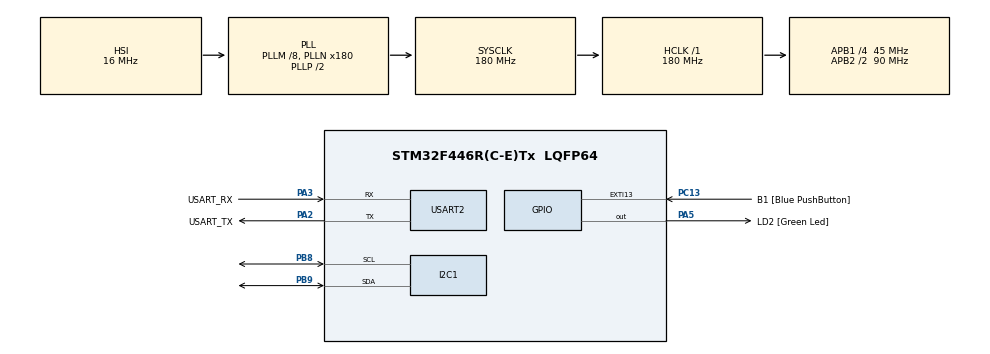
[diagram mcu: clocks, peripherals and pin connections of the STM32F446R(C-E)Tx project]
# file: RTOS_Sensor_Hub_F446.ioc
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FREERTOS.Mutexes01=i2cMutex,Dynamic,NULL,Available
FREERTOS.Queues01=SensorDataQueue,4,16,1,Dynamic,NULL,NULL
FREERTOS.Tasks01=defaultTask,24,128,StartDefaultTask,Default,NULL,Dynamic,NULL,NULL;DataTask,24,256,StartDataTask,Default,NULL,Dynamic,NULL,NULL;CommTask,8,512,StartCommTask,Default,NULL,Dynamic,NULL,NULL
FREERTOS.configCHECK_FOR_STACK_OVERFLOW=2
FREERTOS.configRECORD_STACK_HIGH_ADDRESS=1
FREERTOS.configTOTAL_HEAP_SIZE=20480
FREERTOS.configUSE_MALLOC_FAILED_HOOK=1
FREERTOS.configUSE_NEWLIB_REENTRANT=1
FREERTOS.configUSE_TICKLESS_IDLE=0
I2C1.I2C_Mode=I2C_Fast
IWDG.Prescaler=IWDG_PRESCALER_64
IWDG.Reload=4095
Mcu.Family=STM32F4
Mcu.Name=STM32F446R(C-E)Tx
Mcu.Package=LQFP64
NVIC.PriorityGroup=NVIC_PRIORITYGROUP_4
NVIC.TIM1_UP_TIM10_IRQn=true\:15\:0\:false\:false\:true\:false\:false\:true\:true
NVIC.TimeBase=TIM1_UP_TIM10_IRQn
NVIC.TimeBaseIP=TIM1
PA13.GPIO_Label=TMS
PA13.Signal=SYS_JTMS-SWDIO
PA14.GPIO_Label=TCK
PA14.Signal=SYS_JTCK-SWCLK
PA2.GPIO_Label=USART_TX
PA2.Mode=Asynchronous
PA2.Signal=USART2_TX
PA3.GPIO_Label=USART_RX
PA3.Mode=Asynchronous
PA3.Signal=USART2_RX
PA5.GPIO_Label=LD2 [Green Led]
PA5.Signal=GPIO_Output
PB3.GPIO_Label=SWO
PB3.Signal=SYS_JTDO-SWO
PB8.GPIO_Pu=GPIO_PULLUP
PB8.Mode=I2C
PB8.Signal=I2C1_SCL
PB9.GPIO_Pu=GPIO_PULLUP
PB9.Mode=I2C
PB9.Signal=I2C1_SDA
PC13.GPIO_Label=B1 [Blue PushButton]
PC13.GPIO_ModeDefaultEXTI=GPIO_MODE_IT_FALLING
PC13.Signal=GPXTI13
PC14-OSC32_IN.Mode=LSE-External-Oscillator
PC14-OSC32_IN.Signal=RCC_OSC32_IN
PC15-OSC32_OUT.Mode=LSE-External-Oscillator
PC15-OSC32_OUT.Signal=RCC_OSC32_OUT
PH0-OSC_IN.Mode=HSE-External-Oscillator
PH0-OSC_IN.Signal=RCC_OSC_IN
PH1-OSC_OUT.Mode=HSE-External-Oscillator
PH1-OSC_OUT.Signal=RCC_OSC_OUT
ProjectManager.HeapSize=0x200
ProjectManager.StackSize=0x400
ProjectManager.TargetToolchain=STM32CubeIDE
RCC.AHBFreq_Value=180000000
RCC.APB1CLKDivider=RCC_HCLK_DIV4
RCC.APB1Freq_Value=45000000
RCC.APB1TimFreq_Value=90000000
RCC.APB2CLKDivider=RCC_HCLK_DIV2
RCC.APB2Freq_Value=90000000
RCC.APB2TimFreq_Value=180000000
RCC.CortexFreq_Value=180000000
RCC.FLatency-AdvancedSettings=FLASH_LATENCY_5
RCC.HCLKFreq_Value=180000000
RCC.HSE_VALUE=8000000
RCC.HSI_VALUE=16000000
RCC.PLLM=8
RCC.PLLN=180
RCC.SYSCLKFreq_VALUE=180000000
RCC.SYSCLKSource=RCC_SYSCLKSOURCE_PLLCLK
RCC.USBFreq_Value=180000000
RCC.VCOOutputFreq_Value=360000000
USART2.VirtualMode=VM_ASYNC
VP_FREERTOS_VS_CMSIS_V2.Mode=CMSIS_V2
VP_IWDG_VS_IWDG.Mode=IWDG_Activate
VP_SYS_VS_tim1.Mode=TIM1
board=NUCLEO-F446RE

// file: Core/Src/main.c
/* USER CODE BEGIN Header */
/**
  ******************************************************************************
  * @file           : main.c
  * @brief          : Main program body
  ******************************************************************************
  * @attention
  *
  * Copyright (c) 2026 STMicroelectronics.
  * All rights reserved.
  *
  * This software is licensed under terms that can be found in the LICENSE file
  * in the root directory of this software component.
  * If no LICENSE file comes with this software, it is provided AS-IS.
  *
  ******************************************************************************
  */
/* USER CODE END Header */
#include "main.h"
#include "cmsis_os.h"

/* USER CODE BEGIN Includes */
#include "bme280_defs.h"
#include "bme280.h"
#include "bme280_helper.h"
#include "rtc_helper.h"
#include "ssd1306_conf.h"
#include "ssd1306_fonts.h"
#include "ssd1306.h"
#include <stdio.h>
#include <string.h>
/* USER CODE END Includes */

/* USER CODE BEGIN PTD */
typedef struct {
    float temperature;
    float humidity;
    float pressure;
    uint8_t hours;
    uint8_t minutes;
    uint8_t seconds;
    uint8_t years;
    uint8_t months;
    uint8_t days;
} SensorPacket_t;
/* USER CODE END PTD */

/* USER CODE BEGIN PD */
volatile uint32_t dataTaskAlive = 0;
volatile uint32_t commTaskAlive = 0;

struct bme280_dev dev;
/* USER CODE END PD */

I2C_HandleTypeDef hi2c1;

IWDG_HandleTypeDef hiwdg;

UART_HandleTypeDef huart2;

/* Definitions for defaultTask */
osThreadId_t defaultTaskHandle;
const osThreadAttr_t defaultTask_attributes = {
  .name = "defaultTask",
  .stack_size = 128 * 4,
  .priority = (osPriority_t) osPriorityNormal,
};
/* Definitions for DataTask */
osThreadId_t DataTaskHandle;
const osThreadAttr_t DataTask_attributes = {
  .name = "DataTask",
  .stack_size = 256 * 4,
  .priority = (osPriority_t) osPriorityNormal,
};
/* Definitions for CommTask */
osThreadId_t CommTaskHandle;
const osThreadAttr_t CommTask_attributes = {
  .name = "CommTask",
  .stack_size = 512 * 4,
  .priority = (osPriority_t) osPriorityLow,
};
/* Definitions for SensorDataQueue */
osMessageQueueId_t SensorDataQueueHandle;
const osMessageQueueAttr_t SensorDataQueue_attributes = {
  .name = "SensorDataQueue"
};
/* Definitions for i2cMutex */
osMutexId_t i2cMutexHandle;
const osMutexAttr_t i2cMutex_attributes = {
  .name = "i2cMutex"
};

void SystemClock_Config(void);
static void MX_GPIO_Init(void);
static void MX_I2C1_Init(void);
static void MX_USART2_UART_Init(void);
static void MX_IWDG_Init(void);
void StartDefaultTask(void *argument);
void StartDataTask(void *argument);
void StartCommTask(void *argument);

/* USER CODE BEGIN PFP */
int8_t Bme280_Setup(void);
void I2C1_BusRecover(void);
/* USER CODE END PFP */

int main(void)
{

  /* MCU Configuration--------------------------------------------------------*/

  /* Reset of all peripherals, Initializes the Flash interface and the Systick. */
  HAL_Init();

  /* Configure the system clock */
  SystemClock_Config();

  /* Initialize all configured peripherals */
  MX_GPIO_Init();
  MX_I2C1_Init();
  MX_USART2_UART_Init();
  /* USER CODE BEGIN 2 */
  int8_t rslt = Bme280_Setup();
  char m[32];
  int k = snprintf(m, sizeof(m), "bme280_setup: %d\r\n", rslt);
  HAL_UART_Transmit(&huart2, (uint8_t*)m, k, 100);

  if (__HAL_RCC_GET_FLAG(RCC_FLAG_IWDGRST)) {
      HAL_UART_Transmit(&huart2, (uint8_t*)"IWDG reset\r\n", 12, 100);
  } else {
      HAL_UART_Transmit(&huart2, (uint8_t*)"Normal boot\r\n", 13, 100);
  }
  __HAL_RCC_CLEAR_RESET_FLAGS();

  I2C1_BusRecover();

  dev.intf_ptr = NULL;
  dev.read = bme280_i2c_read;
  dev.write = bme280_i2c_write;
  dev.delay_us = bme280_delay_us;
  dev.intf = BME280_I2C_INTF;

  if (bme280_init(&dev) != BME280_OK)
  {
      const char hello[] = "Hiba tortent\r\n";
      HAL_UART_Transmit(&huart2, (uint8_t*)hello, sizeof(hello) - 1, 100);
  }

    struct bme280_settings settings;

    bme280_get_sensor_settings(&settings, &dev);

    settings.osr_h = BME280_OVERSAMPLING_1X;
    settings.osr_p = BME280_OVERSAMPLING_1X;
    settings.osr_t = BME280_OVERSAMPLING_1X;
    settings.filter = BME280_FILTER_COEFF_16;

    bme280_set_sensor_settings(BME280_SEL_OSR_PRESS | BME280_SEL_OSR_TEMP | BME280_SEL_OSR_HUM | BME280_SEL_FILTER, &settings, &dev);

    bme280_set_sensor_mode(BME280_POWERMODE_NORMAL, &dev);

  DS3231_Init(&hi2c1);
  MX_IWDG_Init();
  ssd1306_Init();
  //One tim date settings
  //DS3231_SetTime(10, 19, 00);
  //DS3231_SetDate(6, 11, 26);
  /* USER CODE END 2 */

  /* Init scheduler */
  osKernelInitialize();
  /* Create the mutex(es) */
  /* creation of i2cMutex */
  i2cMutexHandle = osMutexNew(&i2cMutex_attributes);

  /* Create the queue(s) */
  /* creation of SensorDataQueue */
  SensorDataQueueHandle = osMessageQueueNew (4, sizeof(SensorPacket_t), &SensorDataQueue_attributes);

  /* Create the thread(s) */
  /* creation of defaultTask */
  defaultTaskHandle = osThreadNew(StartDefaultTask, NULL, &defaultTask_attributes);

  /* creation of DataTask */
  DataTaskHandle = osThreadNew(StartDataTask, NULL, &DataTask_attributes);

  /* creation of CommTask */
  CommTaskHandle = osThreadNew(StartCommTask, NULL, &CommTask_attributes);

  /* Start scheduler */
  osKernelStart();

  /* We should never get here as control is now taken by the scheduler */

  /* Infinite loop */
  while (1)
  {
  }
}

void SystemClock_Config(void)
{
  RCC_OscInitTypeDef RCC_OscInitStruct = {0};
  RCC_ClkInitTypeDef RCC_ClkInitStruct = {0};

  /** Configure the main internal regulator output voltage
  */
  __HAL_RCC_PWR_CLK_ENABLE();
  __HAL_PWR_VOLTAGESCALING_CONFIG(PWR_REGULATOR_VOLTAGE_SCALE1);

  /** Initializes the RCC Oscillators according to the specified parameters
  * in the RCC_OscInitTypeDef structure.
  */
  RCC_OscInitStruct.OscillatorType = RCC_OSCILLATORTYPE_HSI|RCC_OSCILLATORTYPE_LSI;
  RCC_OscInitStruct.HSIState = RCC_HSI_ON;
  RCC_OscInitStruct.HSICalibrationValue = RCC_HSICALIBRATION_DEFAULT;
  RCC_OscInitStruct.LSIState = RCC_LSI_ON;
  RCC_OscInitStruct.PLL.PLLState = RCC_PLL_ON;
  RCC_OscInitStruct.PLL.PLLSource = RCC_PLLSOURCE_HSI;
  RCC_OscInitStruct.PLL.PLLM = 8;
  RCC_OscInitStruct.PLL.PLLN = 180;
  RCC_OscInitStruct.PLL.PLLP = RCC_PLLP_DIV2;
  RCC_OscInitStruct.PLL.PLLQ = 2;
  RCC_OscInitStruct.PLL.PLLR = 2;
  if (HAL_RCC_OscConfig(&RCC_OscInitStruct) != HAL_OK)
  {
    Error_Handler();
  }

  /** Activate the Over-Drive mode
  */
  if (HAL_PWREx_EnableOverDrive() != HAL_OK)
  {
    Error_Handler();
  }

  /** Initializes the CPU, AHB and APB buses clocks
  */
  RCC_ClkInitStruct.ClockType = RCC_CLOCKTYPE_HCLK|RCC_CLOCKTYPE_SYSCLK
                              |RCC_CLOCKTYPE_PCLK1|RCC_CLOCKTYPE_PCLK2;
  RCC_ClkInitStruct.SYSCLKSource = RCC_SYSCLKSOURCE_PLLCLK;
  RCC_ClkInitStruct.AHBCLKDivider = RCC_SYSCLK_DIV1;
  RCC_ClkInitStruct.APB1CLKDivider = RCC_HCLK_DIV4;
  RCC_ClkInitStruct.APB2CLKDivider = RCC_HCLK_DIV2;

  if (HAL_RCC_ClockConfig(&RCC_ClkInitStruct, FLASH_LATENCY_5) != HAL_OK)
  {
    Error_Handler();
  }
}

static void MX_I2C1_Init(void)
{

  hi2c1.Instance = I2C1;
  hi2c1.Init.ClockSpeed = 400000;
  hi2c1.Init.DutyCycle = I2C_DUTYCYCLE_2;
  hi2c1.Init.OwnAddress1 = 0;
  hi2c1.Init.AddressingMode = I2C_ADDRESSINGMODE_7BIT;
  hi2c1.Init.DualAddressMode = I2C_DUALADDRESS_DISABLE;
  hi2c1.Init.OwnAddress2 = 0;
  hi2c1.Init.GeneralCallMode = I2C_GENERALCALL_DISABLE;
  hi2c1.Init.NoStretchMode = I2C_NOSTRETCH_DISABLE;
  if (HAL_I2C_Init(&hi2c1) != HAL_OK)
  {
    Error_Handler();
  }

}

static void MX_IWDG_Init(void)
{

  hiwdg.Instance = IWDG;
  hiwdg.Init.Prescaler = IWDG_PRESCALER_16;
  hiwdg.Init.Reload = 1399;
  if (HAL_IWDG_Init(&hiwdg) != HAL_OK)
  {
    Error_Handler();
  }

}

static void MX_USART2_UART_Init(void)
{

  huart2.Instance = USART2;
  huart2.Init.BaudRate = 115200;
  huart2.Init.WordLength = UART_WORDLENGTH_8B;
  huart2.Init.StopBits = UART_STOPBITS_1;
  huart2.Init.Parity = UART_PARITY_NONE;
  huart2.Init.Mode = UART_MODE_TX_RX;
  huart2.Init.HwFlowCtl = UART_HWCONTROL_NONE;
  huart2.Init.OverSampling = UART_OVERSAMPLING_16;
  if (HAL_UART_Init(&huart2) != HAL_OK)
  {
    Error_Handler();
  }

}

static void MX_GPIO_Init(void)
{
  GPIO_InitTypeDef GPIO_InitStruct = {0};

  /* GPIO Ports Clock Enable */
  __HAL_RCC_GPIOC_CLK_ENABLE();
  __HAL_RCC_GPIOH_CLK_ENABLE();
  __HAL_RCC_GPIOA_CLK_ENABLE();
  __HAL_RCC_GPIOB_CLK_ENABLE();

  /*Configure GPIO pin Output Level */
  HAL_GPIO_WritePin(LD2_GPIO_Port, LD2_Pin, GPIO_PIN_RESET);

  /*Configure GPIO pin : B1_Pin */
  GPIO_InitStruct.Pin = B1_Pin;
  GPIO_InitStruct.Mode = GPIO_MODE_IT_FALLING;
  GPIO_InitStruct.Pull = GPIO_NOPULL;
  HAL_GPIO_Init(B1_GPIO_Port, &GPIO_InitStruct);

  /*Configure GPIO pin : LD2_Pin */
  GPIO_InitStruct.Pin = LD2_Pin;
  GPIO_InitStruct.Mode = GPIO_MODE_OUTPUT_PP;
  GPIO_InitStruct.Pull = GPIO_NOPULL;
  GPIO_InitStruct.Speed = GPIO_SPEED_FREQ_LOW;
  HAL_GPIO_Init(LD2_GPIO_Port, &GPIO_InitStruct);

}

/* USER CODE BEGIN 4 */
int8_t Bme280_Setup(void)
{
    int8_t r = bme280_init(&dev);
    if (r != BME280_OK) return r;

    struct bme280_settings s;
    r = bme280_get_sensor_settings(&s, &dev);
    if (r != BME280_OK) return r;

    s.osr_h  = BME280_OVERSAMPLING_1X;
    s.osr_p  = BME280_OVERSAMPLING_1X;
    s.osr_t  = BME280_OVERSAMPLING_1X;
    s.filter = BME280_FILTER_COEFF_16;

    r = bme280_set_sensor_settings(BME280_SEL_OSR_PRESS | BME280_SEL_OSR_TEMP |
                                   BME280_SEL_OSR_HUM   | BME280_SEL_FILTER, &s, &dev);
    if (r != BME280_OK) return r;

    return bme280_set_sensor_mode(BME280_POWERMODE_NORMAL, &dev);
}

#define I2C_SCL_PORT GPIOB
#define I2C_SCL_PIN  GPIO_PIN_8
#define I2C_SDA_PORT GPIOB
#define I2C_SDA_PIN  GPIO_PIN_9

void I2C1_BusRecover(void)
{
    GPIO_InitTypeDef g = {0};

    __HAL_I2C_DISABLE(&hi2c1);
    HAL_I2C_DeInit(&hi2c1);
    __HAL_RCC_I2C1_FORCE_RESET();
    HAL_Delay(2);
    __HAL_RCC_I2C1_RELEASE_RESET();

    g.Pin   = I2C_SCL_PIN | I2C_SDA_PIN;
    g.Mode  = GPIO_MODE_OUTPUT_OD;
    g.Pull  = GPIO_PULLUP;
    g.Speed = GPIO_SPEED_FREQ_LOW;
    HAL_GPIO_Init(I2C_SCL_PORT, &g);

    HAL_GPIO_WritePin(I2C_SDA_PORT, I2C_SDA_PIN, GPIO_PIN_SET);
    HAL_GPIO_WritePin(I2C_SCL_PORT, I2C_SCL_PIN, GPIO_PIN_SET);
    HAL_Delay(1);

    for (int i = 0; i < 9; i++)
    {
        if (HAL_GPIO_ReadPin(I2C_SDA_PORT, I2C_SDA_PIN) == GPIO_PIN_SET) break;
        HAL_GPIO_WritePin(I2C_SCL_PORT, I2C_SCL_PIN, GPIO_PIN_RESET);
        HAL_Delay(1);
        HAL_GPIO_WritePin(I2C_SCL_PORT, I2C_SCL_PIN, GPIO_PIN_SET);
        HAL_Delay(1);
    }

    uint8_t sdaOk = (HAL_GPIO_ReadPin(I2C_SDA_PORT, I2C_SDA_PIN) == GPIO_PIN_SET);
    uint8_t sclOk = (HAL_GPIO_ReadPin(I2C_SCL_PORT, I2C_SCL_PIN) == GPIO_PIN_SET);

    // STOP feltétel
    HAL_GPIO_WritePin(I2C_SDA_PORT, I2C_SDA_PIN, GPIO_PIN_RESET);
    HAL_Delay(1);
    HAL_GPIO_WritePin(I2C_SCL_PORT, I2C_SCL_PIN, GPIO_PIN_SET);
    HAL_Delay(1);
    HAL_GPIO_WritePin(I2C_SDA_PORT, I2C_SDA_PIN, GPIO_PIN_SET);
    HAL_Delay(1);

    HAL_GPIO_DeInit(I2C_SCL_PORT, I2C_SCL_PIN | I2C_SDA_PIN);
    HAL_I2C_Init(&hi2c1);

    char msg[40];
    int n = snprintf(msg, sizeof(msg), "Recover: SDA=%d SCL=%d\r\n", sdaOk, sclOk);
    HAL_UART_Transmit(&huart2, (uint8_t*)msg, n, 100);
}
/* USER CODE END 4 */

void StartDefaultTask(void *argument)
{
  /* USER CODE BEGIN 5 */
  /* Infinite loop */
  for(;;)
  {
      uint32_t current_tick = osKernelGetTickCount();

      if ((current_tick - dataTaskAlive) < 1500)
      {
          HAL_IWDG_Refresh(&hiwdg); //
      }
      else
      {

      }

      osDelay(200);
  }
  /* USER CODE END 5 */
}

void StartDataTask(void *argument)
{
    SensorPacket_t data;
    uint8_t errCount = 0;
    dataTaskAlive = osKernelGetTickCount();

    for (;;)
    {
        if (osMutexAcquire(i2cMutexHandle, 50) == osOK)
        {
            struct bme280_data sd;
            uint8_t h, m, s, d, mo, y;
            bool ok = (bme280_get_sensor_data(BME280_ALL, &sd, &dev) == BME280_OK)
                   && DS3231_GetTime(&h, &m, &s)
                   && DS3231_GetDate(&d, &mo, &y);

            if (ok) {
                errCount = 0;
                data.temperature = sd.temperature;
                data.humidity    = sd.humidity;
                data.pressure    = sd.pressure;
                data.hours = h; data.minutes = m; data.seconds = s;
                data.days = d;  data.months = mo; data.years = y;
                osMessageQueuePut(SensorDataQueueHandle, &data, 0, 0);
            } else if (++errCount >= 3) {
                I2C1_BusRecover();
                Bme280_Setup();
                errCount = 0;
            }
            osMutexRelease(i2cMutexHandle);
        }
        dataTaskAlive = osKernelGetTickCount();
        osDelay(1000);
    }
}
  /* USER CODE END StartDataTask */

  /* USER CODE BEGIN StartCommTask */
void StartCommTask(void *argument)
{
	  /* USER CODE BEGIN StartCommTask */
	uint8_t oledErr = 0;
	uint32_t lastReinit = 0;

    SensorPacket_t displayData;
      char buffer[64];
    for(;;)
    {
        if (osMessageQueueGet(SensorDataQueueHandle, &displayData, NULL, pdMS_TO_TICKS(50)) == osOK)
        {
            if (osMutexAcquire(i2cMutexHandle, pdMS_TO_TICKS(50)) == osOK) {
                ssd1306_Fill(Black);

                sprintf(buffer, "Temp: %.1f C", (double)displayData.temperature);
                ssd1306_SetCursor(0, 0);
                ssd1306_WriteString(buffer, Font_7x10, White);

                sprintf(buffer, "Hum: %.1f %%", (double)displayData.humidity);
                ssd1306_SetCursor(0, 12);
                ssd1306_WriteString(buffer, Font_7x10, White);

                sprintf(buffer, "Pres: %.1f hPa", (double)displayData.pressure/100);
                ssd1306_SetCursor(0, 24);
                ssd1306_WriteString(buffer, Font_7x10, White);

                sprintf(buffer, "Date: %02d/%02d/%02d", displayData.days, displayData.months, displayData.years);
                ssd1306_SetCursor(0, 36);
                ssd1306_WriteString(buffer, Font_7x10, White);

                sprintf(buffer, "Time: %02d:%02d:%02d", displayData.hours, displayData.minutes, displayData.seconds);
                ssd1306_SetCursor(0, 48);
                ssd1306_WriteString(buffer, Font_7x10, White);

                HAL_StatusTypeDef st = ssd1306_UpdateScreen();
                uint32_t now = osKernelGetTickCount();

                if (st != HAL_OK) {
                    oledErr++;
                    if (oledErr >= 3) {
                        ssd1306_Init();
                        oledErr = 0;
                    }
                } else {
                    oledErr = 0;
                }
                osMutexRelease(i2cMutexHandle);

                int len = snprintf(buffer, sizeof(buffer), "%02d-%02d-20%02d %02d:%02d:%02d,%.2f,%.2f,%.2f\r\n",
                                               displayData.years, displayData.months, displayData.days,
                                               displayData.hours, displayData.minutes, displayData.seconds,
                                               (double)displayData.temperature,
                                               (double)displayData.humidity,
                                               (double)displayData.pressure / 100.0);

                HAL_UART_Transmit(&huart2, (uint8_t*)buffer, len, 100);

                commTaskAlive = osKernelGetTickCount();
            }
        }
    }
}
  /* USER CODE END StartCommTask */

void HAL_TIM_PeriodElapsedCallback(TIM_HandleTypeDef *htim)
{
  if (htim->Instance == TIM1)
  {
    HAL_IncTick();
  }
}

void Error_Handler(void)
{
  __disable_irq();
  while (1)
  {
  }
}

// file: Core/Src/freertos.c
/* USER CODE BEGIN Header */
/**
  ******************************************************************************
  * File Name          : freertos.c
  * Description        : Code for freertos applications
  ******************************************************************************
  * @attention
  *
  * Copyright (c) 2026 STMicroelectronics.
  * All rights reserved.
  *
  * This software is licensed under terms that can be found in the LICENSE file
  * in the root directory of this software component.
  * If no LICENSE file comes with this software, it is provided AS-IS.
  *
  ******************************************************************************
  */
/* USER CODE END Header */

#include "FreeRTOS.h"
#include "task.h"
#include "main.h"

/* Hook prototypes */
void vApplicationStackOverflowHook(xTaskHandle xTask, signed char *pcTaskName);
void vApplicationMallocFailedHook(void);

/* USER CODE BEGIN 4 */
void vApplicationStackOverflowHook(xTaskHandle xTask, signed char *pcTaskName)
{
   /* Run time stack overflow checking is performed if
   configCHECK_FOR_STACK_OVERFLOW is defined to 1 or 2. This hook function is
   called if a stack overflow is detected. */
	    __disable_irq();

	    while (1)
	    {
	        HAL_GPIO_TogglePin(LD2_GPIO_Port, LD2_Pin);
	        HAL_Delay(100);
	}
}
/* USER CODE END 4 */

/* USER CODE BEGIN 5 */
void vApplicationMallocFailedHook(void)
{
   /* vApplicationMallocFailedHook() will only be called if
   configUSE_MALLOC_FAILED_HOOK is set to 1 in FreeRTOSConfig.h. It is a hook
   function that will get called if a call to pvPortMalloc() fails.
   pvPortMalloc() is called internally by the kernel whenever a task, queue,
   timer or semaphore is created. It is also called by various parts of the
   demo application. If heap_1.c or heap_2.c are used, then the size of the
   heap available to pvPortMalloc() is defined by configTOTAL_HEAP_SIZE in
   FreeRTOSConfig.h, and the xPortGetFreeHeapSize() API function can be used
   to query the size of free heap space that remains (although it does not
   provide information on how the remaining heap might be fragmented). */
	    __disable_irq();

	    while (1)
	    {
	        HAL_GPIO_TogglePin(LD2_GPIO_Port, LD2_Pin);
	        HAL_Delay(500);
	    }
}
/* USER CODE END 5 */
